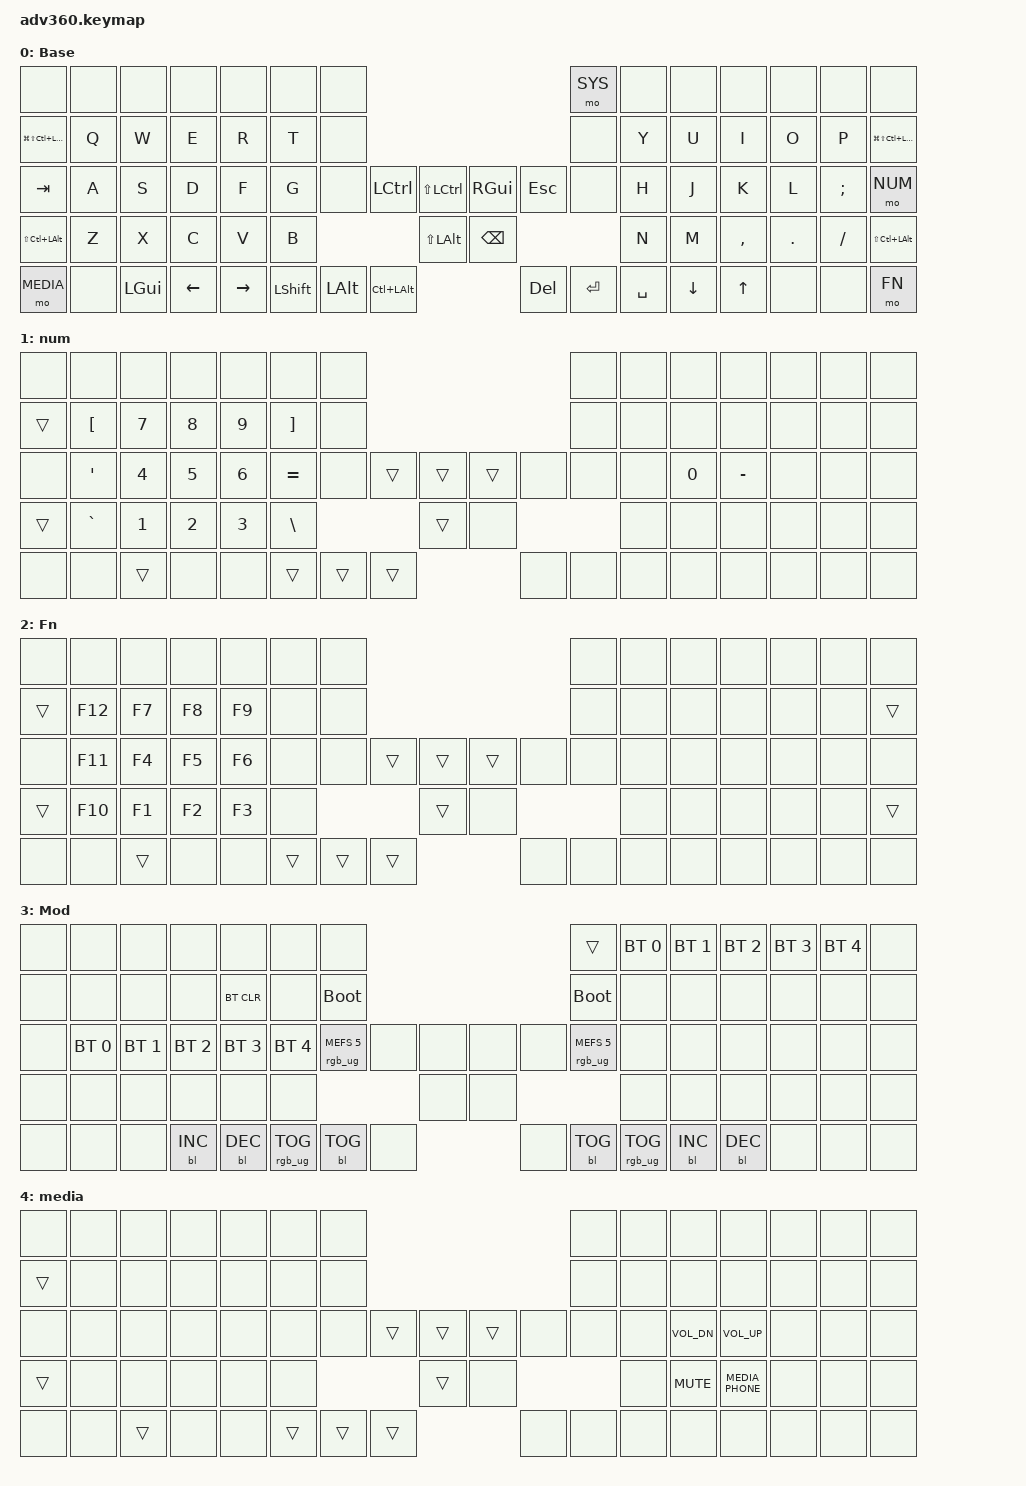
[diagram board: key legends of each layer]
#include <behaviors.dtsi>
#include <dt-bindings/zmk/keys.h>
#include <dt-bindings/zmk/bt.h>
#include <dt-bindings/zmk/rgb.h>
#include <dt-bindings/zmk/stp.h>
#include <dt-bindings/zmk/backlight.h>
#include <dt-bindings/zmk/pointing.h>

#define XXX &none
#define ___ &trans

#define DEF 0
#define NUM 1
#define FN  2
#define SYS 3
#define MEDIA 4
/* S-C-M */
#define MEH_MOD &kp LS(LC(LALT))
/* S-C-M-s */
#define HYPER_MOD &kp LG(LS(LC(LALT)))

/ {
    behaviors {
      #include "macros.dtsi"
      #include "version.dtsi"

      hm: homerow_mods {
          compatible = "zmk,behavior-hold-tap";
          label = "HOMEROW_MODS";
          #binding-cells = <2>;
          tapping-term-ms = <200>;
          quick_tap_ms = <175>;
          flavor = "tap-preferred";
          bindings = <&kp>, <&kp>;
      };
    };

  keymap {
    compatible = "zmk,keymap";

    default_layer {
      display-name = "Base";
      bindings = <
        XXX       XXX   XXX      XXX       XXX       XXX   XXX                                                              &mo SYS XXX   XXX      XXX       XXX     XXX       XXX
        HYPER_MOD &kp Q &kp W    &kp E     &kp R     &kp T XXX                                                              XXX     &kp Y &kp U    &kp I     &kp O   &kp P     HYPER_MOD
        &kp TAB   &kp A &kp S    &kp D     &kp F     &kp G XXX            &kp LCTRL &kp LS(LCTRL) &kp RGUI &kp ESC          XXX     &kp H &kp J    &kp K     &kp L   &kp SEMI  &mo NUM
        MEH_MOD   &kp Z &kp X    &kp C     &kp V     &kp B                          &kp LS(LALT)  &kp BSPC                          &kp N &kp M    &kp COMMA &kp DOT &kp SLASH MEH_MOD
        &mo MEDIA XXX   &kp LGUI &kp LEFT  &kp RIGHT           &kp LSHIFT &kp LALT  &kp LC(LALT)  &kp DEL  &kp ENTER &kp SPACE            &kp DOWN &kp UP    XXX     XXX       &mo FN
      >;
    };
    num {
      bindings = <
        XXX  XXX        XXX     XXX     XXX     XXX        XXX                                  XXX  XXX    XXX    XXX       XXX  XXX  XXX
        ___  &kp LBKT   &kp N7  &kp N8  &kp N9  &kp RBKT   XXX                                  XXX  XXX    XXX    XXX       XXX  XXX  XXX
        XXX  &kp APOS   &kp N4  &kp N5  &kp N6  &kp EQUAL  XXX        ___  ___  ___  XXX        XXX  XXX    &kp N0 &kp MINUS XXX  XXX  XXX
        ___  &kp GRAVE  &kp N1  &kp N2  &kp N3  &kp BSLH                   ___  XXX                  XXX    XXX    XXX       XXX  XXX  XXX
        XXX  XXX        ___     XXX     XXX                      ___  ___  ___  XXX  XXX  XXX               XXX    XXX       XXX  XXX  XXX
      >;
    };
    fn {
      display-name = "Fn";
      bindings = <
        XXX  XXX      XXX     XXX     XXX     XXX  XXX                                XXX  XXX  XXX  XXX  XXX  XXX  XXX
        ___  &kp F12  &kp F7  &kp F8  &kp F9  XXX  XXX                                XXX  XXX  XXX  XXX  XXX  XXX  ___
        XXX  &kp F11  &kp F4  &kp F5  &kp F6  XXX  XXX       ___  ___  ___  XXX       XXX  XXX  XXX  XXX  XXX  XXX  XXX
        ___  &kp F10  &kp F1  &kp F2  &kp F3  XXX                 ___  XXX                 XXX  XXX  XXX  XXX  XXX  ___
        XXX  XXX      ___     XXX     XXX               ___  ___  ___  XXX  XXX  XXX            XXX  XXX  XXX  XXX  XXX
      >;
    };
    mod {
      display-name = "Mod";
      bindings = <
        XXX XXX          XXX          XXX          XXX          XXX          XXX                                                                                                &trans                 &bt BT_SEL 0 &bt BT_SEL 1 &bt BT_SEL 2 &bt BT_SEL 3 &bt BT_SEL 4 XXX
        XXX XXX          XXX          XXX          &bt BT_CLR   XXX          &bootloader                                                                                        &bootloader            XXX          XXX          XXX          XXX          XXX          XXX
        XXX &bt BT_SEL 0 &bt BT_SEL 1 &bt BT_SEL 2 &bt BT_SEL 3 &bt BT_SEL 4 &rgb_ug RGB_MEFS_CMD 5                 XXX        XXX        XXX XXX                               &rgb_ug RGB_MEFS_CMD 5 XXX          XXX          XXX          XXX          XXX          XXX
        XXX XXX          XXX          XXX          XXX          XXX                                                            XXX        XXX                                                          XXX          XXX          XXX          XXX          XXX          XXX
        XXX XXX          XXX          &bl BL_INC   &bl BL_DEC                                       &rgb_ug RGB_TOG &bl BL_TOG XXX        XXX &bl BL_TOG &rgb_ug RGB_TOG                                     &bl BL_INC   &bl BL_DEC   XXX          XXX          XXX
      >;
    };
    media {
      bindings = <
        XXX  XXX  XXX  XXX  XXX  XXX  XXX                               XXX  XXX  XXX           XXX                XXX  XXX  XXX
        ___  XXX  XXX  XXX  XXX  XXX  XXX                               XXX  XXX  XXX           XXX                XXX  XXX  XXX
        XXX  XXX  XXX  XXX  XXX  XXX  XXX      ___  ___  ___  XXX       XXX  XXX  &kp C_VOL_DN  &kp C_VOL_UP       XXX  XXX  XXX
        ___  XXX  XXX  XXX  XXX  XXX                ___  XXX                 XXX  &kp C_MUTE    &kp C_MEDIA_PHONE  XXX  XXX  XXX
        XXX  XXX  ___  XXX  XXX           ___  ___  ___  XXX  XXX  XXX            XXX           XXX                XXX  XXX  XXX
      >;
    };
  };
};

/* vim: set ft=c tw=174 nowrap: */
